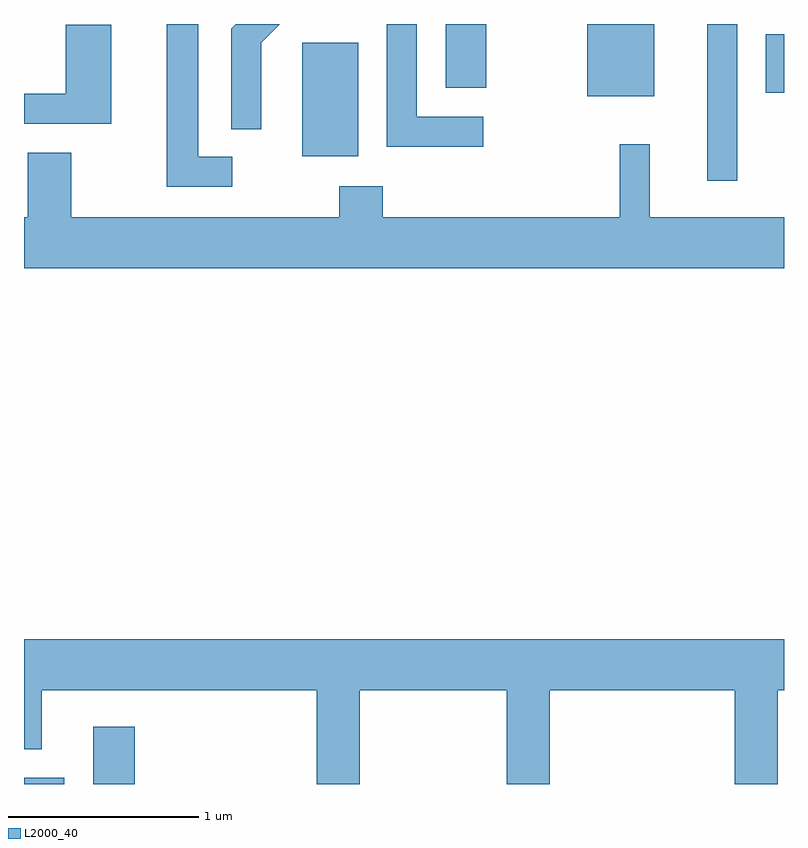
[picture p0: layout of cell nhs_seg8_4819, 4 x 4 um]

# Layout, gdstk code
import gdstk
lib = gdstk.Library(unit=1e-6, precision=1e-09)
def R(c, l, rs):  # rectangles x0, y0, x1, y1
    for r in rs: c.add(gdstk.rectangle(r[:2], r[2:], *l))
def P(c, l, *ps):  # polygons
    for p in ps: c.add(gdstk.Polygon(p, *l))
L2000_40 = (2000, 40)

nhs_seg8_4819 = lib.new_cell('nhs_seg8_4819')
R(nhs_seg8_4819, L2000_40, [(329.611,1860.342,329.824,1860.374), (329.976,1860.342,330.194,1860.644), (333.206,1863.518,333.364,1864.342), (331.076,1863.646,331.369,1864.244), (332.576,1863.961,332.929,1864.342), (333.516,1863.981,333.611,1864.289), (331.831,1864.006,332.044,1864.342)])
P(nhs_seg8_4819, L2000_40, [(332.028,1863.854),(331.679,1863.854),(331.679,1864.342),(331.521,1864.342),(331.521,1863.696),(332.028,1863.696)],
  [(330.859,1864.244),(330.957,1864.342),(330.726,1864.342),(330.701,1864.317),(330.701,1863.788),(330.859,1863.788)],
  [(330.708,1863.644),(330.529,1863.644),(330.529,1864.342),(330.361,1864.342),(330.361,1863.486),(330.708,1863.486)],
  [(330.069,1864.339),(329.831,1864.339),(329.831,1863.974),(329.611,1863.974),(329.611,1863.816),(330.069,1863.816)],
  [(333.611,1863.324),(332.904,1863.324),(332.904,1863.708),(332.746,1863.708),(332.746,1863.324),(331.499,1863.324),(331.499,1863.489),(331.271,1863.489),(331.271,1863.324),(329.859,1863.324),(329.859,1863.664),(329.631,1863.664),(329.631,1863.324),(329.611,1863.324),(329.611,1863.056),(333.611,1863.056)],
  [(331.379,1860.836),(332.151,1860.836),(332.151,1860.342),(332.379,1860.342),(332.379,1860.836),(333.351,1860.836),(333.351,1860.342),(333.579,1860.342),(333.579,1860.836),(333.611,1860.836),(333.611,1861.104),(329.611,1861.104),(329.611,1860.526),(329.704,1860.526),(329.704,1860.836),(331.151,1860.836),(331.151,1860.342),(331.379,1860.342)])

lib.write_gds('nhs_seg8_4819.gds')
